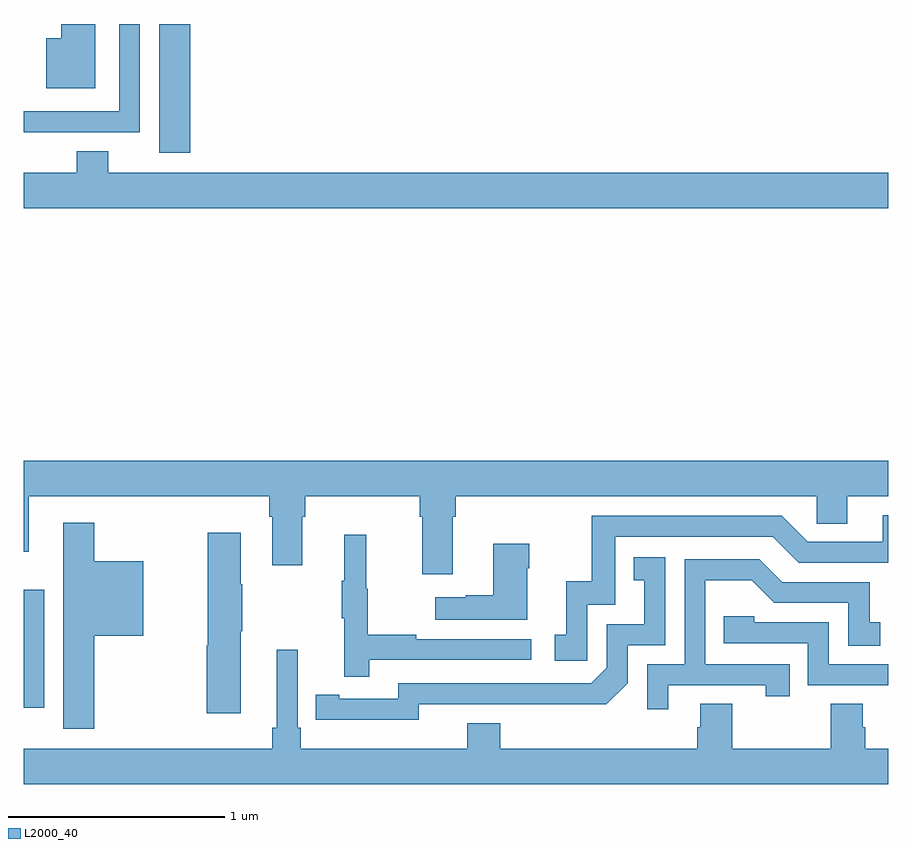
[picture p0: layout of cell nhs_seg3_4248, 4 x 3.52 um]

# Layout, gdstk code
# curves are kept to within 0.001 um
import gdstk
lib = gdstk.Library(unit=1e-6, precision=1e-09)
def R(c, l, rs):  # rectangles x0, y0, x1, y1
    for r in rs: c.add(gdstk.rectangle(r[:2], r[2:], *l))
def P(c, l, *ps):  # polygons
    for p in ps: c.add(gdstk.Polygon(p, *l))
L2000_40 = (2000, 40)

nhs_seg3_4248 = lib.new_cell('nhs_seg3_4248')
R(nhs_seg3_4248, L2000_40, [(335,733.236,335.094,733.783), (335.627,735.804,335.771,736.4)])
P(nhs_seg3_4248, L2000_40, [(335.332,736.4),(335.174,736.4),(335.174,736.333),(335.105,736.333),(335.105,736.103),(335.332,736.103)],
  [(335.156,735.9),(335.538,735.9),(335.538,736.4),(335.442,736.4),(335.442,735.996),(335,735.996),(335,735.899),(335.156,735.899)],
  [(339,735.712),(335.392,735.712),(335.392,735.811),(335.245,735.811),(335.245,735.712),(335,735.712),(335,735.548),(339,735.548)],
  [(336.985,734.12),(336.998,734.12),(336.998,734.216),(338.67,734.216),(338.67,734.089),(338.809,734.089),(338.809,734.216),(339,734.216),(339,734.38),(335,734.38),(335,733.959),(335.023,733.959),(335.023,734.216),(336.137,734.216),(336.137,734.12),(336.149,734.12),(336.149,733.896),(336.289,733.896),(336.289,734.12),(336.302,734.12),(336.302,734.216),(336.833,734.216),(336.833,734.12),(336.845,734.12),(336.845,733.854),(336.985,733.854)],
  [(337.608,733.713),(337.737,733.713),(337.737,734.028),(338.466,734.028),(338.586,733.908),(339,733.908),(339,734.127),(338.975,734.127),(338.975,734.004),(338.628,734.004),(338.508,734.124),(337.629,734.124),(337.629,733.822),(337.511,733.822),(337.511,733.575),(337.458,733.575),(337.458,733.455),(337.608,733.455)],
  [(335.327,733.571),(335.554,733.571),(335.554,733.915),(335.327,733.915),(335.327,734.092),(335.183,734.092),(335.183,733.14),(335.327,733.14)],
  [(336.004,733.591),(336.012,733.591),(336.012,733.808),(336.004,733.808),(336.004,734.047),(335.851,734.047),(335.851,733.524),(335.846,733.524),(335.846,733.212),(336.004,733.212)],
  [(336.599,733.458),(337.348,733.458),(337.348,733.554),(336.815,733.554),(336.815,733.574),(336.592,733.574),(336.592,733.788),(336.584,733.788),(336.584,734.038),(336.482,734.038),(336.482,733.825),(336.471,733.825),(336.471,733.651),(336.482,733.651),(336.482,733.38),(336.599,733.38)],
  [(337.33,733.883),(337.338,733.883),(337.338,733.996),(337.172,733.996),(337.172,733.757),(337.046,733.757),(337.046,733.747),(336.903,733.747),(336.903,733.643),(337.33,733.643)],
  [(336.828,733.254),(337.696,733.253),(337.794,733.35),(337.794,733.527),(337.968,733.527),(337.968,733.933),(337.822,733.933),(337.822,733.827),(337.871,733.827),(337.871,733.623),(337.698,733.623),(337.698,733.422),(337.626,733.35),(336.732,733.35),(336.732,733.278),(336.46,733.278),(336.46,733.298),(336.352,733.298),(336.352,733.182),(336.828,733.181)],
  [(337.981,733.341),(338.432,733.341),(338.432,733.29),(338.543,733.29),(338.543,733.437),(338.154,733.437),(338.154,733.826),(338.368,733.826),(338.472,733.722),(338.814,733.722),(338.814,733.524),(338.962,733.524),(338.962,733.633),(338.913,733.633),(338.913,733.818),(338.509,733.818),(338.404,733.923),(338.058,733.923),(338.058,733.437),(337.884,733.437),(337.884,733.23),(337.981,733.23)],
  [(339,733.437),(338.724,733.437),(338.724,733.632),(338.379,733.632),(338.379,733.659),(338.239,733.659),(338.239,733.536),(338.628,733.536),(338.628,733.341),(339,733.341)],
  [(339,733.048),(338.894,733.048),(338.894,733.146),(338.881,733.146),(338.881,733.256),(338.734,733.256),(338.734,733.048),(338.277,733.048),(338.277,733.256),(338.129,733.256),(338.129,733.146),(338.117,733.146),(338.117,733.048),(337.205,733.048),(337.205,733.165),(337.052,733.165),(337.052,733.048),(336.281,733.048),(336.281,733.144),(336.267,733.144),(336.267,733.504),(336.17,733.504),(336.17,733.144),(336.151,733.144),(336.151,733.048),(335,733.048),(335,732.884),(339,732.884)])

lib.write_gds('nhs_seg3_4248.gds')
